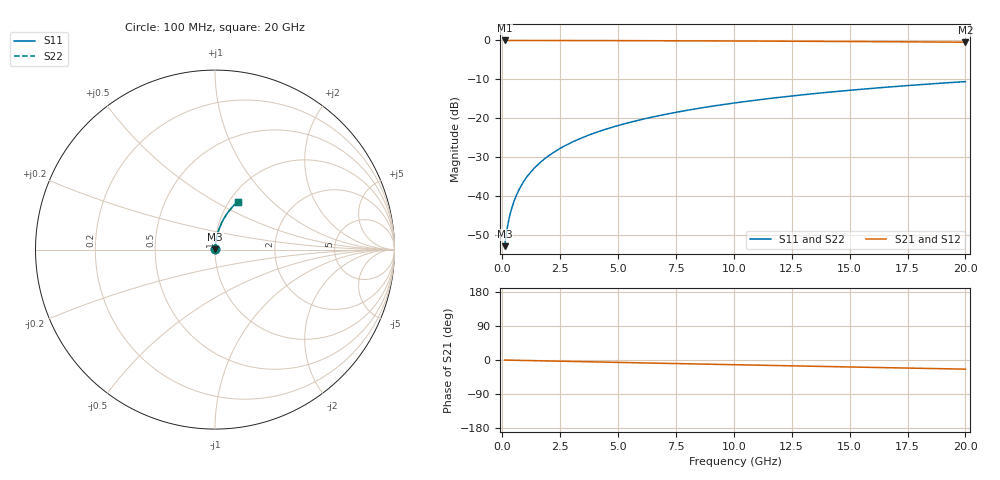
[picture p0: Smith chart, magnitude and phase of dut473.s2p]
! Touchstone file exported from HFSS 2026.1.0
!  File:  C:/ffzhzh/LocalFiles/Ansys_Project_Files/temp_train_TMRDL_473_1783006246_51716.aedt
!  Generated:  11:32:03 PM Jul  2, 2026
!  Design:  TMRDL
!  Project:  temp_train_TMRDL_473_1783006246_51716
! Variables:
!  h_bsmrdl = 2um
!  h_ox = 20um
!  h_rdl = 5um
!  h_sub = 80um
!  h_tmrdl = 5.61um
!  h_tsv = 80um
!  h_via = 3um
!  l_bsmrdl = 300um
!  l_sub = 674.55um
!  l_tmrdl = 274.55um
!  m_sub = 200um
!  pitch = 53.43um
!  r_tsv = 6um
!  s_tmrdl = 10um
!  w_bsmrdl = 18um
!  w_sub = 500um
!  w_tmrdl = 12.31um
!  x_tsv_center1 = 280.705um
!  x_tsv_center2 = 598.705um
!  x_tsv_center3 = 885.565um
!  x_tsv_center4 = 1203.565um
!  x_tsv_center5 = 1490.425um
!  x_tsv_center6 = 1808.425um
# GHz S MA R 50.000000
! Terminal data exported
! Port[1] = TM_RDL1_1_T1
! Port[2] = TM_RDL1_1_T2
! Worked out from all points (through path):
!   200 points, 100 MHz to 20 GHz, reference 50 ohm
!   highest |S21| = -0.01 dB at 100 MHz (marker M1); lowest = -0.5 dB at 20 GHz (marker M2)
!   group delay of S21, straight-line fit = 3.35 ps
!   lowest |S11| = -53.0 dB at 100 MHz (marker M3), VSWR 1.00, Z = 50.1 + j0.169 ohm
!   |S11| at or under -10 dB: start of sweep to end of sweep
!   |S22| runs from -53.0 to -10.6 dB; largest |S21 - S12| = 2.6e-15
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0.1  0.002248 48.4  0.9985 -0.1  0.9985 -0.1  0.002248 48.4
! Gamma 0 0 0 0
! Port Impedance 50 0 50 0
0.2  0.003671 65.2  0.9985 -0.3  0.9985 -0.3  0.003671 65.2
0.3  0.005216 72.3  0.9984 -0.4  0.9984 -0.4  0.005216 72.3
0.4  0.006798 76.1  0.9984 -0.5  0.9984 -0.5  0.006798 76.1
0.5  0.008398 78.4  0.9983 -0.6  0.9983 -0.6  0.008398 78.4
0.7  0.01163 81.0  0.9983 -0.9  0.9983 -0.9  0.01163 81.0
0.8  0.01325 81.8  0.9982 -1.0  0.9982 -1.0  0.01325 81.8
1  0.01649 82.8  0.9981 -1.3  0.9981 -1.3  0.01649 82.8
1.2  0.01974 83.4  0.998 -1.5  0.998 -1.5  0.01974 83.4
1.4  0.02299 83.7  0.9979 -1.8  0.9979 -1.8  0.02299 83.7
1.7  0.02786 83.9  0.9977 -2.2  0.9977 -2.2  0.02786 83.9
2  0.03271 83.9  0.9974 -2.6  0.9974 -2.6  0.03271 83.9
2.7  0.04396 83.6  0.9967 -3.5  0.9967 -3.5  0.04396 83.6
3.5  0.05671 82.9  0.9958 -4.5  0.9958 -4.5  0.05671 82.9
4.2  0.06776 82.2  0.9948 -5.3  0.9948 -5.3  0.06776 82.2
5  0.08027 81.3  0.9935 -6.3  0.9935 -6.3  0.08027 81.3
6.8  0.1081 79.4  0.9902 -8.6  0.9902 -8.6  0.1081 79.4
8.3  0.1308 77.7  0.987 -10.4  0.987 -10.4  0.1308 77.7
10.1  0.1577 75.6  0.9826 -12.6  0.9826 -12.6  0.1577 75.6
13.4  0.2056 71.9  0.973 -16.5  0.973 -16.5  0.2056 71.9
16.7  0.2514 68.2  0.9617 -20.4  0.9617 -20.4  0.2514 68.2
20  0.2949 64.6  0.9489 -24.1  0.9489 -24.1  0.2949 64.6
